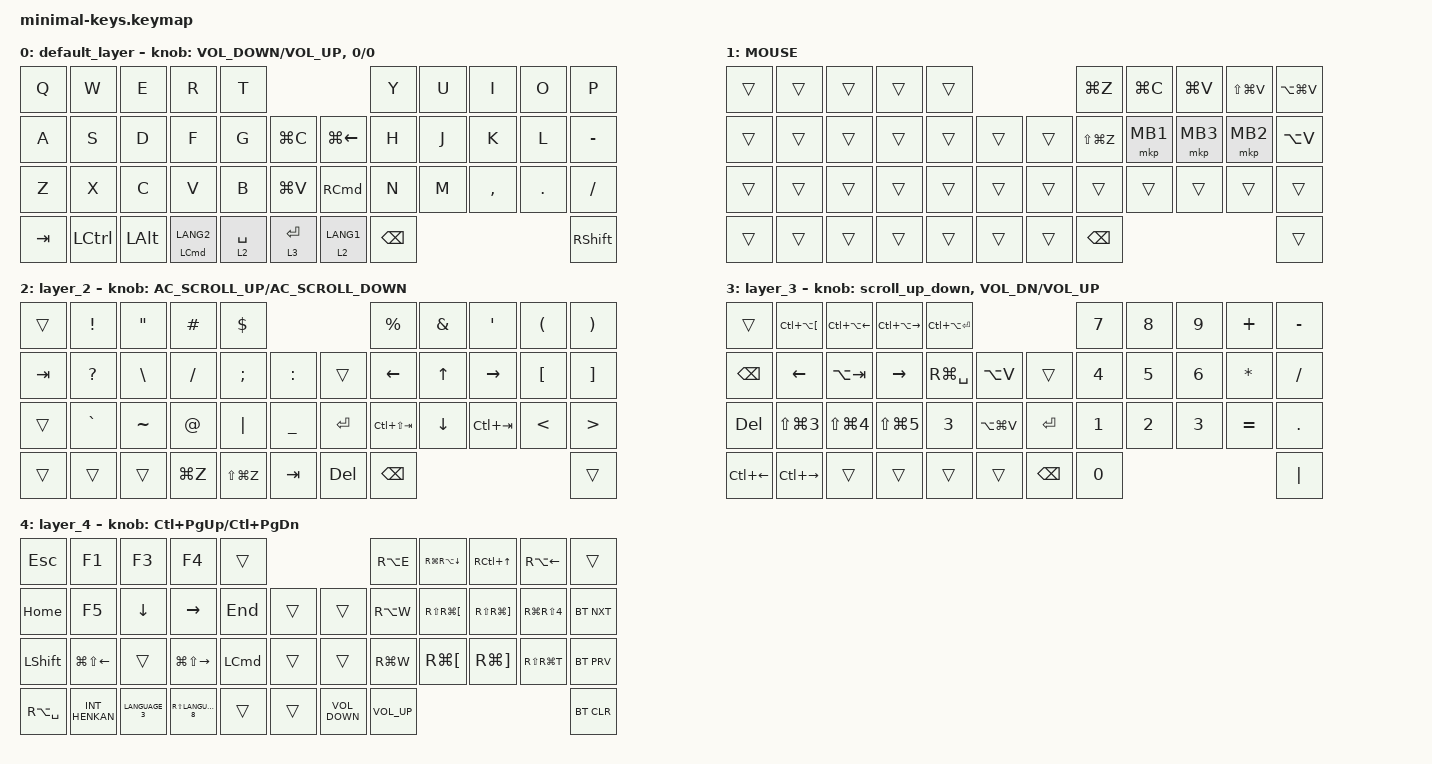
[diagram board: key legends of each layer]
#include <input/processors.dtsi>
#include <behaviors.dtsi>
#include <dt-bindings/zmk/bt.h>
#include <dt-bindings/zmk/keys.h>
#include <dt-bindings/zmk/pointing.h>

#undef ZMK_POINTING_DEFAULT_SCRL_VAL

#define ZMK_POINTING_DEFAULT_SCRL_VAL 150
#define MOUSE 1

&mt {
    flavor = "balanced";
    quick-tap-ms = <0>;
};

&mkp_input_listener { input-processors = <&zip_temp_layer MOUSE 900>; };

/ {
    combos { compatible = "zmk,combos"; };

    macros {
        to_layer_0: to_layer_0 {
            compatible = "zmk,behavior-macro-one-param";
            #binding-cells = <1>;
            bindings = <&to 0 &macro_param_1to1 &kp MACRO_PLACEHOLDER>;
            label = "TO_LAYER_0";
        };
    };

    behaviors {
        lt_to_layer_0: lt_to_layer_0 {
            compatible = "zmk,behavior-hold-tap";
            label = "LAYER_TAP_TO_0";
            bindings = <&mo>, <&to_layer_0>;

            #binding-cells = <2>;
            tapping-term-ms = <200>;
        };

        scroll_up_down: behavior_sensor_rotate_mouse_wheel_up_down {
            compatible = "zmk,behavior-sensor-rotate";
            #sensor-binding-cells = <0>;
            bindings = <&msc SCRL_UP>, <&msc SCRL_DOWN>;

            tap-ms = <20>;
        };

        scroll: scroll {
            compatible = "zmk,behavior-sensor-rotate";
            label = "SCROLL";
            #sensor-binding-cells = <0>;
            bindings = <&msc SCRL_DOWN>, <&msc SCRL_UP>;
        };
    };

    keymap {
        compatible = "zmk,keymap";

        default_layer {
            bindings = <
&kp Q    &kp W             &kp E         &kp R                   &kp T                                     &kp Y          &kp U  &kp I      &kp O    &kp P
&kp A    &kp S             &kp D         &kp F                   &kp G        &kp LG(C)      &kp LG(LEFT)  &kp H          &kp J  &kp K      &kp L    &kp MINUS
&kp Z    &kp X             &kp C         &kp V                   &kp B        &kp LG(V)      &kp RCMD      &kp N          &kp M  &kp COMMA  &kp DOT  &kp SLASH
&kp TAB  &kp LEFT_CONTROL  &kp LEFT_ALT  &mt LEFT_COMMAND LANG2  &lt 2 SPACE  &lt 3 ENTER    &lt 2 LANG1   &kp BACKSPACE                             &kp RIGHT_SHIFT
            >;

            sensor-bindings =
                <&inc_dec_kp C_VOLUME_DOWN C_VOLUME_UP>,
                <&inc_dec_kp 0 0>;
        };

        MOUSE {
            bindings = <
&trans  &trans  &trans  &trans  &trans                    &kp LG(Z)      &kp LG(C)  &kp LG(V)  &kp LS(LG(V))  &kp LA(LG(V))
&trans  &trans  &trans  &trans  &trans  &trans    &trans  &kp LS(LG(Z))  &mkp MB1   &mkp MB3   &mkp MB2       &kp LA(V)
&trans  &trans  &trans  &trans  &trans  &trans    &trans  &trans         &trans     &trans     &trans         &trans
&trans  &trans  &trans  &trans  &trans  &trans    &trans  &kp BACKSPACE                                       &trans
            >;
        };

        layer_2 {
            bindings = <
&trans   &kp EXCLAMATION  &kp DOUBLE_QUOTES  &kp HASH     &kp DOLLAR                                   &kp PERCENT      &kp AMPERSAND  &kp SINGLE_QUOTE  &kp LEFT_PARENTHESIS  &kp RIGHT_PARENTHESIS
&kp TAB  &kp QUESTION     &kp BACKSLASH      &kp SLASH    &kp SEMICOLON  &kp COLON         &trans      &kp LEFT_ARROW   &kp UP_ARROW   &kp RIGHT_ARROW   &kp LEFT_BRACKET      &kp RIGHT_BRACKET
&trans   &kp GRAVE        &kp TILDE          &kp AT_SIGN  &kp PIPE       &kp UNDERSCORE    &kp ENTER   &kp LC(LS(TAB))  &kp DOWN       &kp LC(TAB)       &kp LESS_THAN         &kp GREATER_THAN
&trans   &trans           &trans             &kp LG(Z)    &kp LS(LG(Z))  &kp TAB           &kp DELETE  &kp BSPC                                                                &trans
            >;

            sensor-bindings = <&inc_dec_kp C_AC_SCROLL_UP C_AC_SCROLL_DOWN>;
        };

        layer_3 {
            bindings = <
&trans              &kp LC(LA(LEFT_BRACKET))  &kp LC(LA(LEFT_ARROW))  &kp LC(LA(RIGHT_ARROW))  &kp LC(LA(ENTER))                                  &kp N7        &kp N8        &kp N9        &kp PLUS      &kp MINUS
&kp BACKSPACE       &kp LEFT_ARROW            &kp LA(TAB)             &kp RIGHT_ARROW          &kp RG(SPACE)      &kp LA(V)        &trans         &kp NUMBER_4  &kp N5        &kp NUMBER_6  &kp ASTERISK  &kp SLASH
&kp DEL             &kp LS(LG(NUMBER_3))      &kp LS(LG(NUMBER_4))    &kp LS(LG(N5))           &kp NUMBER_3       &kp LA(LG(V))    &kp ENTER      &kp NUMBER_1  &kp NUMBER_2  &kp NUMBER_3  &kp EQUAL     &kp PERIOD
&kp LC(LEFT_ARROW)  &kp LC(RIGHT_ARROW)       &trans                  &trans                   &trans             &trans           &kp BACKSPACE  &kp N0                                                  &kp PIPE
            >;

            sensor-bindings =
                <&scroll_up_down>,
                <&inc_dec_kp C_VOL_DN C_VOL_UP>;
        };

        layer_4 {
            bindings = <
&kp ESCAPE      &kp F1                  &kp F3          &kp F4                   &trans                                         &kp RA(E)        &kp RG(RA(DOWN_ARROW))    &kp RC(UP_ARROW)           &kp RA(LEFT_ARROW)    &trans
&kp HOME        &kp F5                  &kp DOWN_ARROW  &kp RIGHT_ARROW          &kp END           &trans    &trans             &kp RA(W)        &kp RS(RG(LEFT_BRACKET))  &kp RS(RG(RIGHT_BRACKET))  &kp RG(RS(NUMBER_4))  &bt BT_NXT
&kp LEFT_SHIFT  &kp LG(LS(LEFT_ARROW))  &trans          &kp LG(LS(RIGHT_ARROW))  &kp LEFT_COMMAND  &trans    &trans             &kp RG(W)        &kp RG(LEFT_BRACKET)      &kp RG(RIGHT_BRACKET)      &kp RS(RG(T))         &bt BT_PRV
&kp RA(SPACE)   &kp INT_HENKAN          &kp LANGUAGE_3  &kp RS(LANGUAGE_8)       &trans            &trans    &kp C_VOLUME_DOWN  &kp C_VOLUME_UP                                                                             &bt BT_CLR
            >;

            sensor-bindings = <&inc_dec_kp LC(PAGE_UP) LC(PAGE_DOWN)>;
        };
    };
};
